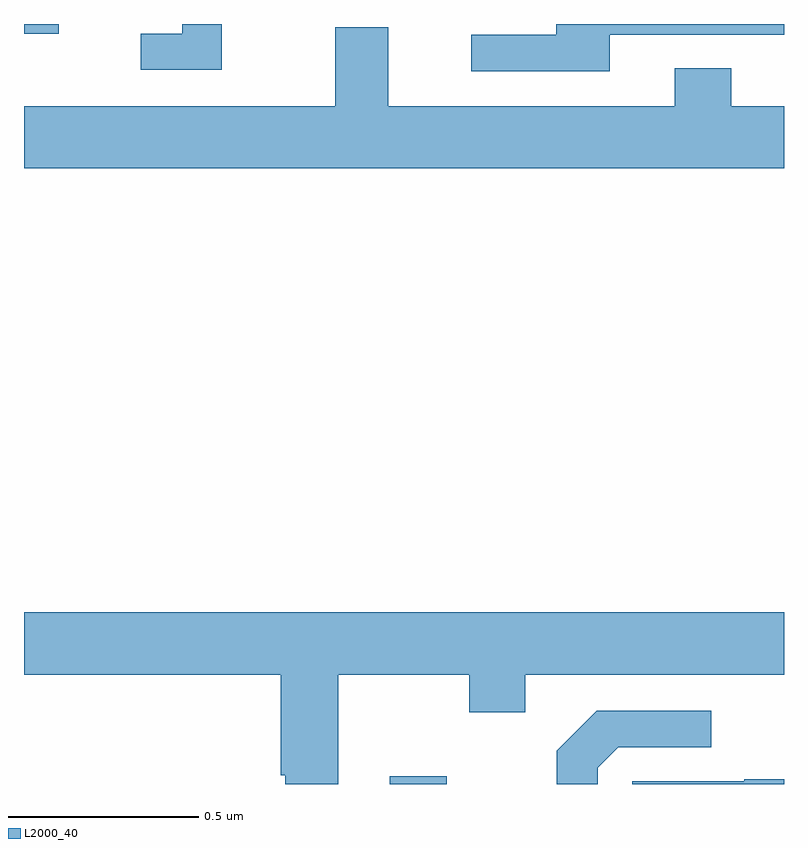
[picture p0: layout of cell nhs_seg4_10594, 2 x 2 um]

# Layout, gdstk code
import gdstk
lib = gdstk.Library(unit=1e-6, precision=1e-09)
def R(c, l, rs):  # rectangles x0, y0, x1, y1
    for r in rs: c.add(gdstk.rectangle(r[:2], r[2:], *l))
def P(c, l, *ps):  # polygons
    for p in ps: c.add(gdstk.Polygon(p, *l))
L2000_40 = (2000, 40)

nhs_seg4_10594 = lib.new_cell('nhs_seg4_10594')
R(nhs_seg4_10594, L2000_40, [(242.963,761.9,243.112,761.92), (242,763.874,242.092,763.9)])
P(nhs_seg4_10594, L2000_40, [(243.541,763.872),(244,763.872),(244,763.9),(243.401,763.9),(243.401,763.872),(243.177,763.872),(243.177,763.776),(243.541,763.776)],
  [(242.521,763.9),(242.417,763.9),(242.417,763.875),(242.307,763.875),(242.307,763.779),(242.521,763.779)],
  [(244,763.684),(243.861,763.684),(243.861,763.783),(243.713,763.783),(243.713,763.684),(242.959,763.684),(242.959,763.892),(242.819,763.892),(242.819,763.684),(242,763.684),(242,763.52),(244,763.52)],
  [(242.827,762.188),(243.172,762.188),(243.172,762.089),(243.319,762.089),(243.319,762.188),(244,762.188),(244,762.352),(242,762.352),(242,762.188),(242.675,762.188),(242.675,761.923),(242.687,761.923),(242.687,761.9),(242.827,761.9)],
  [(243.51,761.943),(243.564,761.997),(243.808,761.997),(243.808,762.093),(243.507,762.093),(243.402,761.987),(243.402,761.9),(243.51,761.9)],
  [(244,761.912),(243.895,761.912),(243.895,761.907),(243.6,761.907),(243.6,761.9),(244,761.9)])

lib.write_gds('nhs_seg4_10594.gds')
